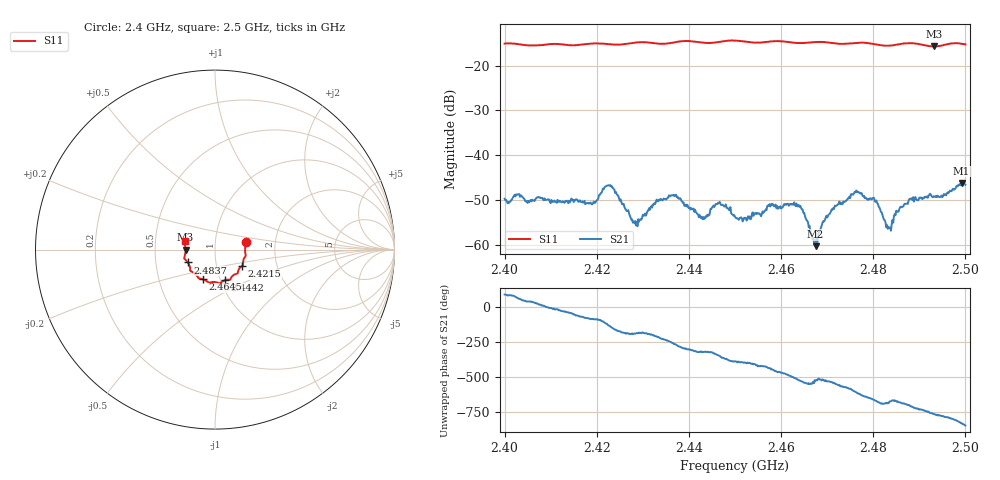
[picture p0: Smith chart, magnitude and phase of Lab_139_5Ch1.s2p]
# Hz S RI R 50
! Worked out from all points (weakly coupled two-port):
!   601 points, 2.4 GHz to 2.5 GHz, reference 50 ohm
!   highest |S21| = -46.19 dB at 2.4992 GHz (marker M1); lowest = -60.3 dB at 2.4675 GHz (marker M2)
!   lowest |S11| = -15.7 dB at 2.4932 GHz (marker M3), VSWR 1.39, Z = 35.9 - j0.0601 ohm
!   |S11| at or under -10 dB: start of sweep to end of sweep
!   S12 and S22 are empty: the file has one direction only
!   S11 on the Smith chart (normalised r, x): 2.4 GHz: 1.41, +0.12; 2.4215 GHz: 1.33, -0.25; 2.4442 GHz: 1.05, -0.37; 2.4645 GHz: 0.83, -0.29; 2.4837 GHz: 0.73, -0.11; 2.5 GHz: 0.71, +0.07
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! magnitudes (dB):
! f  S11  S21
! 2.4 GHz  -15.1  -49.7
! 2.4167 GHz  -15.3  -50.4
! 2.4215 GHz  -15.1  -47.6
! 2.4233 GHz  -15.3  -46.9
! 2.4283 GHz  -14.9  -54.7
! 2.4333 GHz  -15.1  -50.2
! 2.437 GHz  -14.8  -48.9
! 2.4442 GHz  -15.0  -53.2
! 2.4463 GHz  -14.7  -50.6
! 2.45 GHz  -14.4  -53.7
! 2.4645 GHz  -15.0  -52.0
! 2.4667 GHz  -14.8  -57.7
! 2.4675 GHz  -14.7  -60.3
! 2.4713 GHz  -15.0  -51.7
! 2.4763 GHz  -14.9  -47.8
! 2.4805 GHz  -15.3  -50.3
! 2.4833 GHz  -15.6  -56.0
! 2.4837 GHz  -15.5  -56.1
! 2.4882 GHz  -15.0  -49.7
! 2.4932 GHz  -15.7  -49.1
! 2.4992 GHz  -15.1  -46.2
! 2.5 GHz  -15.3  -46.6
